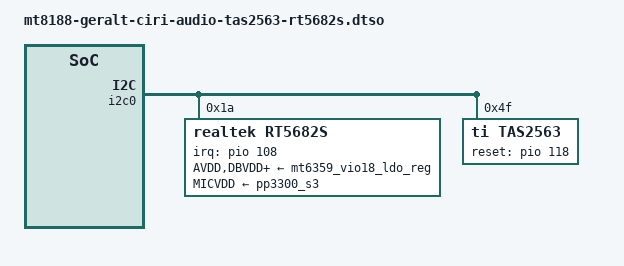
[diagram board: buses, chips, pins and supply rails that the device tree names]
// SPDX-License-Identifier: (GPL-2.0 OR MIT)
/*
 * Copyright 2024 Google LLC
 */
#include <dt-bindings/gpio/gpio.h>
#include <dt-bindings/interrupt-controller/irq.h>
/dts-v1/;
/plugin/;

&i2c0 {
	#address-cells = <1>;
	#size-cells = <0>;

	rt5682s: audio-codec@1a {
		compatible = "realtek,rt5682s";
		reg = <0x1a>;
		interrupts-extended = <&pio 108 IRQ_TYPE_EDGE_BOTH>;
		pinctrl-names = "default";
		pinctrl-0 = <&audio_codec_pins>;
		#sound-dai-cells = <1>;

		AVDD-supply = <&mt6359_vio18_ldo_reg>;
		DBVDD-supply = <&mt6359_vio18_ldo_reg>;
		LDO1-IN-supply = <&mt6359_vio18_ldo_reg>;
		MICVDD-supply = <&pp3300_s3>;
		realtek,jd-src = <1>;
	};

	tas2563: amplifier@4f {
		compatible = "ti,tas2563", "ti,tas2781";
		reg = <0x4f>, <0x4c>; /* left / right channel */
		reset-gpios = <&pio 118 GPIO_ACTIVE_HIGH>;
		#sound-dai-cells = <0>;
	};
};

&sound {
	compatible = "mediatek,mt8188-rt5682s";
	model = "mt8188_tas2563_5682";

	audio-routing =
		"ETDM1_OUT", "ETDM_SPK_PIN",
		"ETDM2_OUT", "ETDM_HP_PIN",
		"ETDM1_IN", "ETDM_SPK_PIN",
		"ETDM2_IN", "ETDM_HP_PIN",
		"ADDA Capture", "MTKAIF_PIN",
		"Headphone Jack", "HPOL",
		"Headphone Jack", "HPOR",
		"IN1P", "Headset Mic";

	dai-link-1 {
		codec {
			sound-dai = <&tas2563>;
		};
	};

	dai-link-2 {
		codec {
			sound-dai = <&rt5682s 0>;
		};
	};

	dai-link-3 {
		codec {
			sound-dai = <&rt5682s 0>;
		};
	};
};
